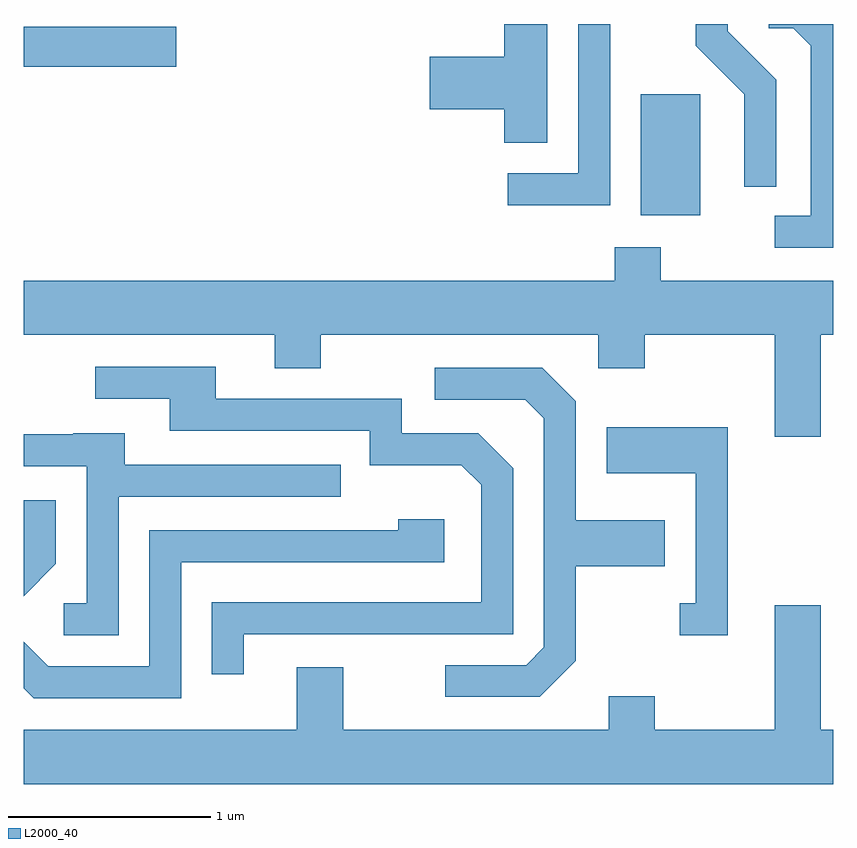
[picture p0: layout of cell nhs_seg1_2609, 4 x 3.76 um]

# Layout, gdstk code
import gdstk
lib = gdstk.Library(unit=1e-6, precision=1e-09)
def R(c, l, rs):  # rectangles x0, y0, x1, y1
    for r in rs: c.add(gdstk.rectangle(r[:2], r[2:], *l))
def P(c, l, *ps):  # polygons
    for p in ps: c.add(gdstk.Polygon(p, *l))
L2000_40 = (2000, 40)

nhs_seg1_2609 = lib.new_cell('nhs_seg1_2609')
R(nhs_seg1_2609, L2000_40, [(266.661,966.766,266.954,967.364), (263.611,967.501,264.364,967.699)])
P(nhs_seg1_2609, L2000_40, [(267.611,967.712),(267.293,967.712),(267.293,967.691),(267.414,967.691),(267.501,967.604),(267.501,966.764),(267.323,966.764),(267.323,966.606),(267.611,966.606)],
  [(266.199,967.712),(265.986,967.712),(265.986,967.549),(265.616,967.549),(265.616,967.291),(265.986,967.291),(265.986,967.126),(266.199,967.126)],
  [(267.329,967.437),(267.089,967.677),(267.089,967.712),(266.931,967.712),(266.931,967.604),(267.171,967.364),(267.171,966.908),(267.329,966.908)],
  [(266.509,967.712),(266.351,967.712),(266.351,966.974),(266.003,966.974),(266.003,966.816),(266.509,966.816)],
  [(267.549,966.176),(267.611,966.176),(267.611,966.444),(266.759,966.444),(266.759,966.609),(266.531,966.609),(266.531,966.444),(263.611,966.444),(263.611,966.176),(264.851,966.176),(264.851,966.011),(265.079,966.011),(265.079,966.176),(266.451,966.176),(266.451,966.011),(266.679,966.011),(266.679,966.176),(267.321,966.176),(267.321,965.671),(267.549,965.671)],
  [(264.699,964.696),(266.029,964.696),(266.029,965.517),(265.857,965.689),(265.479,965.689),(265.479,965.859),(264.559,965.859),(264.559,966.019),(263.963,966.019),(263.963,965.861),(264.331,965.861),(264.331,965.701),(265.321,965.701),(265.321,965.531),(265.774,965.531),(265.871,965.434),(265.871,964.854),(264.541,964.854),(264.541,964.498),(264.699,964.498)],
  [(266.339,964.564),(266.339,965.031),(266.779,965.031),(266.779,965.259),(266.339,965.259),(266.339,965.847),(266.172,966.014),(265.643,966.014),(265.643,965.856),(266.089,965.856),(266.181,965.764),(266.181,964.632),(266.094,964.544),(265.693,964.544),(265.693,964.386),(266.162,964.386)],
  [(267.089,965.719),(266.491,965.719),(266.491,965.491),(266.931,965.491),(266.931,964.849),(266.853,964.849),(266.853,964.691),(267.089,964.691)],
  [(264.079,965.376),(265.178,965.376),(265.178,965.534),(264.109,965.534),(264.109,965.689),(263.855,965.689),(263.855,965.684),(263.611,965.684),(263.611,965.526),(263.921,965.526),(263.921,964.849),(263.808,964.849),(263.808,964.691),(264.079,964.691)],
  [(263.769,965.044),(263.769,965.358),(263.611,965.358),(263.611,964.885)],
  [(264.389,965.051),(265.689,965.051),(265.689,965.264),(265.461,965.264),(265.461,965.209),(264.231,965.209),(264.231,964.539),(263.732,964.539),(263.611,964.66),(263.611,964.429),(263.659,964.381),(264.389,964.381)],
  [(267.611,964.224),(267.549,964.224),(267.549,964.839),(267.321,964.839),(267.321,964.224),(266.729,964.224),(266.729,964.389),(266.501,964.389),(266.501,964.224),(265.189,964.224),(265.189,964.534),(264.961,964.534),(264.961,964.224),(263.611,964.224),(263.611,963.956),(267.611,963.956)])

lib.write_gds('nhs_seg1_2609.gds')
